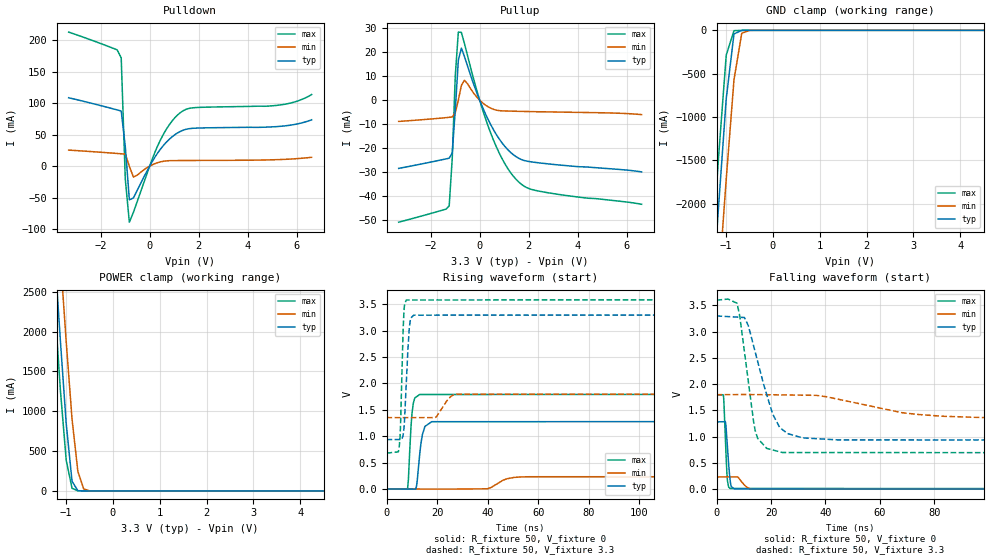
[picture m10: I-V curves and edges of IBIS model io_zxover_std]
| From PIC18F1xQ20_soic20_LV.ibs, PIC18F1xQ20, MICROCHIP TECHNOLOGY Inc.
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[Model] io_zxover_std
Model_type I/O
Vinl  =  0.8
Vinh  =  2
| Capacitance   typ   min   max
C_comp   3.179356808695557e-12   3.178379229174377e-12   3.32087970022533e-12
[Model Spec]
| Subparameter   typ   min   max
Vinl   1.5   0.81   1.65
Vinh   3.6   1.89   3.85
Vmeas   2.5   1.35   2.75
| Variables   typ   min   max
[GND Clamp Reference]   0   0   0
[POWER Clamp Reference]   3.3   1.8   3.6
[Pulldown Reference]   0   0   0
[Pullup Reference]   3.3   1.8   3.6
[Temperature Range]   25   125   -40
[Voltage Range]   3.3   1.8   3.6
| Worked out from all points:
|   slope of the pulldown table from 0 to 0.495 V, typ, clamps not added: 16.7 ohm
|   slope of the pullup table from 0 to 0.495 V, typ, clamps not added: 44.8 ohm
|   GND clamp passes 1 mA (typ) near -0.66 V on its own axis
|   POWER clamp passes 1 mA (typ) near -0.65 V on its own axis
|   falling waveform, R_fixture 50, V_fixture 0: 20-80 % time 1.11ns typ, 2.42ns min, 876ps max; typ from 1.28 V to 0 V
|   falling waveform, R_fixture 50, V_fixture 3.3: 20-80 % time 7.71ns typ, 25.7ns min, 4.44ns max; typ from 3.3 V to 0.936 V
|   rising waveform, R_fixture 50, V_fixture 0: 20-80 % time 1.83ns typ, 5.25ns min, 1.25ns max; typ from 0 V to 1.28 V
|   rising waveform, R_fixture 50, V_fixture 3.3: 20-80 % time 1.48ns typ, 3.79ns min, 993ps max; typ from 0.936 V to 3.3 V
[GND Clamp]
| Voltage   I(typ)   I(min)   I(max)
-3.3V     -18.75A    -18.89A    -18.72A
-1.324V   -3.34A     -4.181A    -2.808A
-1.159V   -2.049A    -2.949A    -1.475A
-993.1mV  -789mA     -1.717A    -285.7mA
-827.6mV  -41.37mA   -570.8mA   -3.738mA
-662.1mV  -808.3uA   -33.96mA   -571.4uA
-496.6mV  -22.62uA   -517.7uA   -6.324uA
6.6V      0A         0A         0A
[POWER Clamp]
| Voltage   I(typ)   I(min)   I(max)
-3.3V     21.36A     21.68A     21.21A
-1.366V   4.096A     5.059A     3.499A
-1.241V   2.988A     3.993A     2.363A
-1.117V   1.881A     2.926A     1.262A
-993.1mV  841.2mA    1.869A     382.8mA
-869mV    120.4mA    901.8mA    32.94mA
-744.8mV  3.27mA     244.6mA    1.601mA
-620.7mV  391.9uA    25.72mA    457.5uA
-496.6mV  30.77uA    1.113mA    52.33uA
6.6V      0A         0A         0A
[Pulldown]
| Voltage   I(typ)   I(min)   I(max)
-3.3V     108.6mA    25.49mA    212.9mA
-1.324V   89.29mA    20.14mA    184.7mA
-1.159V   87.56mA    19.65mA    172mA
-993.1mV  31.31mA    19.13mA    -20.47mA
-827.6mV  -53.48mA   -119uA     -89.02mA
-662.1mV  -50.56mA   -17.42mA   -73.41mA
341.4mV   21.7mA     5.717mA    33.47mA
796.6mV   42.57mA    8.672mA    65.49mA
1.252V    55.15mA    8.913mA    85mA
1.821V    60.27mA    9.023mA    92.84mA
5.286V    63.12mA    10.42mA    97mA
6.6V      73.6mA     14.04mA    113.7mA
[Pullup]
| Voltage   I(typ)   I(min)   I(max)
-3.3V     -28.48mA   -8.873mA   -50.94mA
-1.241V   -24.24mA   -7.149mA   -44.13mA
-1.117V   -22.04mA   -7.014mA   -24.32mA
-993.1mV  -4.111mA   -5.253mA   10.18mA
-869mV    16.62mA    -22.02uA   28.43mA
-744.8mV  21.75mA    6.17mA     28.29mA
-620.7mV  18.28mA    8.308mA    23.71mA
455.2mV   -10.29mA   -3.355mA   -13.89mA
1.024V    -19.27mA   -4.499mA   -26.48mA
1.593V    -24.26mA   -4.657mA   -34.17mA
2.617V    -26.4mA    -4.86mA    -38.35mA
6.6V      -29.94mA   -6.039mA   -43.47mA
[Ramp]
dV/dt_r   0.768806/1.83269n  0.139527/5.2472n  1.07649/1.2547n
dV/dt_f   1.41822/7.7119n  0.268061/25.6833n  1.75307/4.44041n
R_load = 50
[Falling Waveform]
R_fixture = 50
V_fixture = 0
V_fixture_min = 0
V_fixture_max = 0
| Time   V(typ)   V(min)   V(max)
0s        1.281V     232.5mV    1.794V
2.476ns   1.284V     233mV      1.797V
2.725ns   1.285V     233.1mV    1.639V
3.321ns   1.268V     233.2mV    873mV
3.821ns   940.8mV    233.3mV    294.5mV
4.441ns   485mV      233.4mV    41.44mV
4.94ns    198.4mV    233.5mV    13.56mV
6.539ns   4.149mV    233.9mV    13.52mV
13ns      4.101mV    2.65mV     13.36mV
562.5ns   76.75nV    23.64nV    41.63nV
[Falling Waveform]
R_fixture = 50
V_fixture = 3.3
V_fixture_min = 1.8
V_fixture_max = 3.6
| Time   V(typ)   V(min)   V(max)
0s        3.3V       1.8V       3.6V
7.549ns   3.278V     1.802V     3.541V
10.24ns   3.27V      1.803V     2.62V
13.62ns   2.728V     1.802V     1.281V
15.06ns   2.441V     1.801V     971.2mV
20.58ns   1.434V     1.798V     747mV
24.16ns   1.136V     1.795V     698.3mV
44.61ns   938.6mV    1.714V     697.6mV
97.82ns   938.4mV    1.364V     695.6mV
562.5ns   936.3mV    1.353V     678.2mV
[Rising Waveform]
R_fixture = 50
V_fixture = 0
V_fixture_min = 0
V_fixture_max = 0
| Time   V(typ)   V(min)   V(max)
0s        -67.1pV    6.782nV    -77.27pV
8.319ns   -2.947mV   -1.113mV   -497.9uV
10.09ns   -3.574mV   -1.349mV   1.438V
11.87ns   53.12mV    -1.587mV   1.749V
13.13ns   658.1mV    -1.756mV   1.791V
15.2ns    1.186V     -2.032mV   1.791V
17.89ns   1.275V     -2.393mV   1.791V
39.87ns   1.275V     2.713mV    1.791V
56.66ns   1.275V     231.6mV    1.791V
562.5ns   1.281V     232.5mV    1.794V
[Rising Waveform]
R_fixture = 50
V_fixture = 3.3
V_fixture_min = 1.8
V_fixture_max = 3.6
| Time   V(typ)   V(min)   V(max)
0s        936.3mV    1.353V     678.2mV
5.085ns   937.1mV    1.353V     822.9mV
5.561ns   937.1mV    1.353V     1.233V
6.912ns   1.157V     1.353V     3.391V
7.85ns    2.035V     1.353V     3.582V
8.992ns   3.043V     1.353V     3.582V
10.77ns   3.295V     1.353V     3.582V
19.4ns    3.295V     1.358V     3.583V
27.63ns   3.295V     1.796V     3.583V
562.5ns   3.3V       1.8V       3.6V
